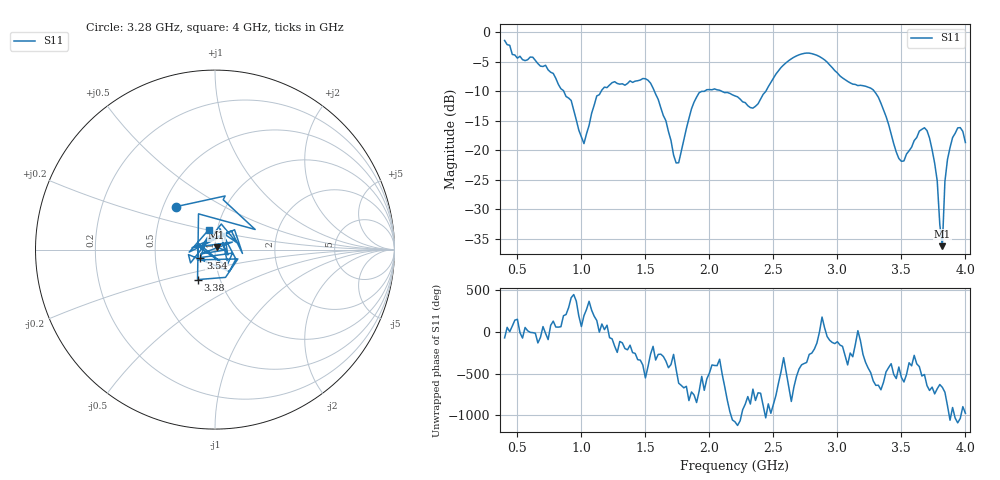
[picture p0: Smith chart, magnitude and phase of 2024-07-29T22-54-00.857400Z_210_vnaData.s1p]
!Created with skrf (http://scikit-rf.org).
# Hz S RI R 50.0
!freq ReS11 ImS11
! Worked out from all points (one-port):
!   181 points, 400 MHz to 4 GHz, reference 50 ohm
!   lowest |S11| = -36.3 dB at 3.82 GHz (marker M1), VSWR 1.03, Z = 50.9 + j1.29 ohm
!   |S11| at or under -10 dB: 1.57 GHz to 1.961 GHz (390.9 MHz wide, 22.1 % of centre); 2.096 GHz to 2.441 GHz (345.2 MHz wide, 15.2 % of centre); 3.288 GHz to end of sweep (the widest 3 of 4)
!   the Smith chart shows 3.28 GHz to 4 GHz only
!   S11 on the Smith chart (normalised r, x): 3.28 GHz: 0.58, +0.31; 3.38 GHz: 0.78, -0.27; 3.54 GHz: 0.85, -0.08; 4 GHz: 0.91, +0.20
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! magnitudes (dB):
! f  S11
! 400 MHz  -1.4
! 720 MHz  -5.6
! 860 MHz  -9.9
! 1.02 GHz  -18.9
! 1.12 GHz  -10.8
! 1.3 GHz  -8.8
! 1.54 GHz  -8.6
! 1.76 GHz  -22.1
! 1.86 GHz  -13.0
! 1.92 GHz  -10.2
! 2.2 GHz  -10.8
! 2.34 GHz  -12.9
! 2.66 GHz  -4.2
! 2.84 GHz  -3.9
! 3.1 GHz  -8.6
! 3.28 GHz  -9.8
! 3.38 GHz  -14.3
! 3.48 GHz  -21.4
! 3.54 GHz  -20.7
! 3.56 GHz  -20.1
! 3.7 GHz  -16.7
! 3.78 GHz  -25.2
! 3.8 GHz  -32.6
! 3.82 GHz  -36.3
! 3.84 GHz  -25.3
! 3.88 GHz  -19.6
! 3.94 GHz  -16.2
! 4 GHz  -18.7
